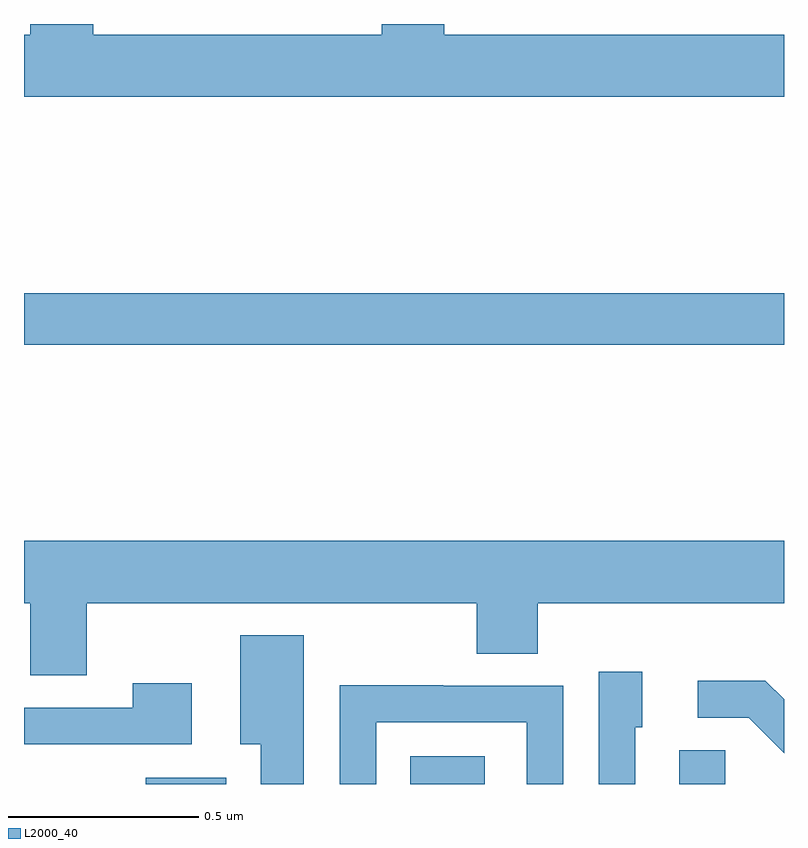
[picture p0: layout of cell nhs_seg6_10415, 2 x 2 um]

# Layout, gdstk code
import gdstk
lib = gdstk.Library(unit=1e-6, precision=1e-09)
def R(c, l, rs):  # rectangles x0, y0, x1, y1
    for r in rs: c.add(gdstk.rectangle(r[:2], r[2:], *l))
def P(c, l, *ps):  # polygons
    for p in ps: c.add(gdstk.Polygon(p, *l))
L2000_40 = (2000, 40)

nhs_seg6_10415 = lib.new_cell('nhs_seg6_10415')
R(nhs_seg6_10415, L2000_40, [(246.32,973.5,246.532,973.516), (247.016,973.5,247.213,973.573), (247.724,973.5,247.845,973.589), (246,974.656,248,974.792)])
P(nhs_seg6_10415, L2000_40, [(248,975.472),(247.106,975.472),(247.106,975.5),(246.941,975.5),(246.941,975.472),(246.182,975.472),(246.182,975.5),(246.017,975.5),(246.017,975.472),(246,975.472),(246,975.308),(248,975.308)],
  [(246.165,973.976),(247.192,973.976),(247.192,973.843),(247.352,973.843),(247.352,973.976),(248,973.976),(248,974.14),(246,974.14),(246,973.976),(246.017,973.976),(246.017,973.786),(246.165,973.786)],
  [(246.736,973.891),(246.569,973.891),(246.569,973.604),(246.623,973.604),(246.623,973.5),(246.736,973.5)],
  [(247.608,973.65),(247.627,973.65),(247.627,973.795),(247.512,973.795),(247.512,973.5),(247.608,973.5)],
  [(248,973.723),(247.951,973.772),(247.773,973.772),(247.773,973.674),(247.907,973.674),(248,973.581)],
  [(246.442,973.765),(246.286,973.765),(246.286,973.701),(246,973.701),(246,973.605),(246.442,973.605)],
  [(246.927,973.662),(247.323,973.662),(247.323,973.5),(247.419,973.5),(247.419,973.758),(247.103,973.758),(247.103,973.76),(246.831,973.76),(246.831,973.5),(246.927,973.5)])

lib.write_gds('nhs_seg6_10415.gds')
